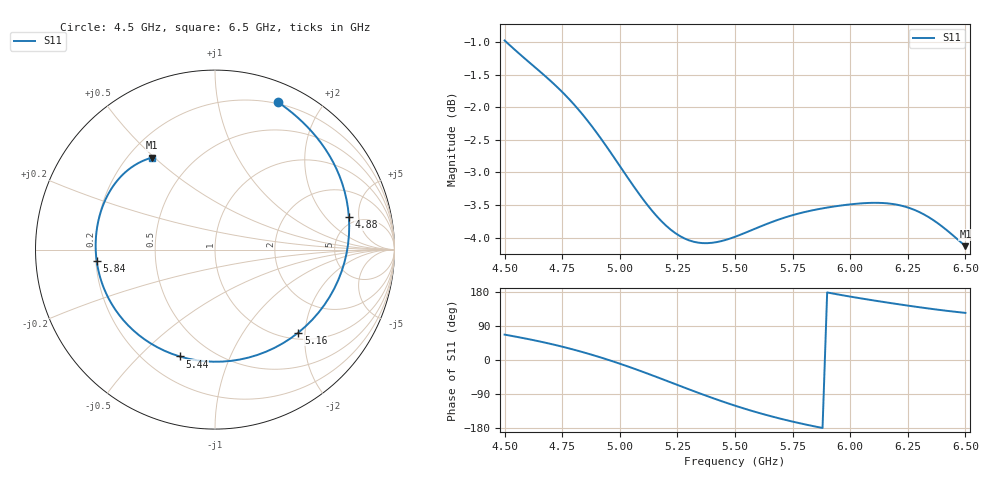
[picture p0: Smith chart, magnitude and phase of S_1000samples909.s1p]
! TOUCHSTONE file generated by CST MICROWAVE STUDIO
! Date and time: Sat Oct 29 18:39:54 2022
! Project name: L.cst
! Parameters = {Di=1.27; Epsilon_r=1.56; InnerDiameter=1.27; Length=2; Lf=10; Lg=60; OuterConductorThickness=0.2921; OuterDiameter=3.6; Wf=3; Wp=41.2; de=1.5; df=6.8; g=0.8; gx=4.00839; gy=0.740336; h=2.34; hf=1.524; px=12.6474; py=9.33502; w=9.7; wx=8.63903; wy=8.59468}
! Header version: 2018
! Port assignment regex: !\s*Touchstone port\s*([0-9]+)\s*=\s*(CST MWS port|CST DS port)\s*([0-9]+|Zmin|Zmax)\s*\(\"(.*)\"\)(\s*mode\s*([0-9]+))?.*
! Touchstone port assignment:
! Touchstone port 1 = CST MWS port 1 ("")
# GHz S DB R 50
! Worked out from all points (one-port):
!   101 points, 4.5 GHz to 6.5 GHz, reference 50 ohm
!   lowest |S11| = -4.1 dB at 6.5 GHz (marker M1), VSWR 4.28, Z = 14.7 + j24.6 ohm
!   |S11| at or under -10 dB: nowhere
!   S11 on the Smith chart (normalised r, x): 4.5 GHz: 0.18, +1.50; 4.88 GHz: 4.24, +3.72; 5.16 GHz: 1.14, -1.85; 5.44 GHz: 0.34, -0.67; 5.84 GHz: 0.20, -0.05; 6.5 GHz: 0.29, +0.49
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4.5  -0.98 67.0
4.58  -1.23 57.9
4.64  -1.41 50.5
4.7  -1.60 42.5
4.76  -1.80 33.6
4.82  -2.03 24.0
4.88  -2.30 13.6
4.94  -2.59 2.3
5  -2.90 -9.7
5.08  -3.31 -26.8
5.16  -3.67 -44.9
5.22  -3.88 -58.8
5.26  -3.98 -68.1
5.34  -4.08 -86.5
5.38  -4.09 -95.4
5.44  -4.06 -108.3
5.5  -3.99 -120.5
5.56  -3.90 -131.9
5.62  -3.82 -142.4
5.68  -3.74 -152.2
5.76  -3.65 -164.0
5.84  -3.58 -174.5
5.92  -3.53 176.0
6  -3.49 167.3
6.12  -3.47 155.5
6.26  -3.55 142.7
6.38  -3.78 132.8
6.5  -4.13 124.4
